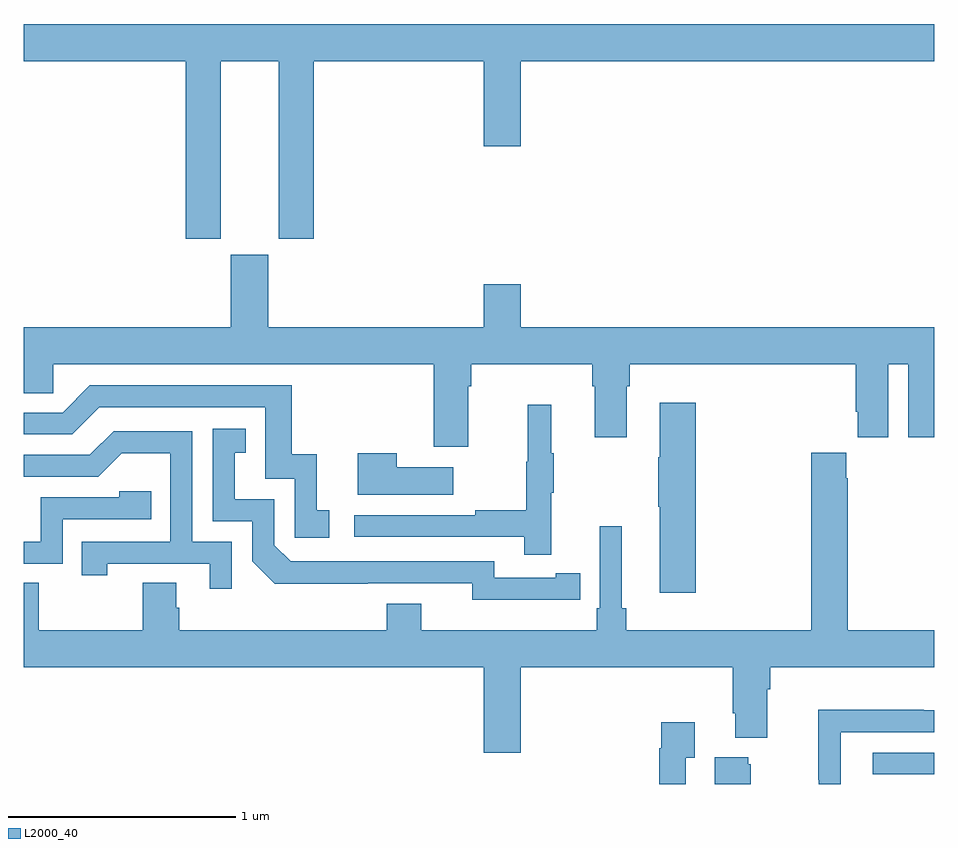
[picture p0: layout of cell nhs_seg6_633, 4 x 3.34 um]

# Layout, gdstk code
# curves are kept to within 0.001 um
import gdstk
lib = gdstk.Library(unit=1e-6, precision=1e-09)
def R(c, l, rs):  # rectangles x0, y0, x1, y1
    for r in rs: c.add(gdstk.rectangle(r[:2], r[2:], *l))
def P(c, l, *ps):  # polygons
    for p in ps: c.add(gdstk.Polygon(p, *l))
L2000_40 = (2000, 40)

nhs_seg6_633 = lib.new_cell('nhs_seg6_633')
R(nhs_seg6_633, L2000_40, [(154.731,937.542,155,937.638)])
P(nhs_seg6_633, L2000_40, [(151,940.676),(151.712,940.676),(151.712,939.897),(151.864,939.897),(151.864,940.676),(152.12,940.676),(152.12,939.897),(152.273,939.897),(152.273,940.676),(153.02,940.676),(153.02,940.302),(153.184,940.302),(153.184,940.676),(155,940.676),(155,940.84),(151,940.84)],
  [(151.91,939.825),(151.91,939.508),(151,939.508),(151,939.217),(151.128,939.217),(151.128,939.344),(152.801,939.344),(152.801,938.982),(152.953,938.982),(152.953,939.248),(152.966,939.248),(152.966,939.344),(153.497,939.344),(153.497,939.248),(153.509,939.248),(153.509,939.024),(153.649,939.024),(153.649,939.248),(153.662,939.248),(153.662,939.344),(154.655,939.344),(154.655,939.136),(154.664,939.136),(154.664,939.024),(154.798,939.024),(154.798,939.344),(154.886,939.344),(154.886,939.024),(155,939.024),(155,939.508),(153.184,939.508),(153.184,939.697),(153.02,939.697),(153.02,939.508),(152.074,939.508),(152.074,939.825)],
  [(152.341,938.703),(152.288,938.703),(152.288,938.95),(152.177,938.95),(152.177,939.252),(151.29,939.252),(151.17,939.132),(151,939.132),(151,939.036),(151.212,939.036),(151.332,939.156),(152.061,939.156),(152.061,938.841),(152.19,938.841),(152.19,938.583),(152.341,938.583)],
  [(153.953,939.175),(153.794,939.175),(153.794,938.936),(153.787,938.936),(153.787,938.719),(153.794,938.719),(153.794,938.34),(153.953,938.34)],
  [(153.317,938.779),(153.328,938.779),(153.328,938.953),(153.317,938.953),(153.317,939.166),(153.214,939.166),(153.214,938.916),(153.207,938.916),(153.207,938.702),(152.983,938.702),(152.983,938.682),(152.451,938.682),(152.451,938.586),(153.199,938.586),(153.199,938.508),(153.317,938.508)],
  [(153.338,938.31),(153.446,938.31),(153.446,938.426),(153.338,938.426),(153.338,938.406),(153.066,938.406),(153.066,938.478),(152.172,938.478),(152.1,938.55),(152.1,938.751),(151.927,938.751),(151.927,938.955),(151.976,938.955),(151.976,939.061),(151.83,939.061),(151.83,938.655),(152.004,938.655),(152.004,938.478),(152.102,938.381),(152.97,938.382),(152.97,938.309)],
  [(151.914,938.565),(151.74,938.565),(151.74,939.051),(151.394,939.051),(151.289,938.946),(151,938.946),(151,938.85),(151.326,938.85),(151.43,938.954),(151.644,938.954),(151.644,938.565),(151.255,938.565),(151.255,938.418),(151.366,938.418),(151.366,938.469),(151.817,938.469),(151.817,938.358),(151.914,938.358)],
  [(153.184,938.012),(154.115,938.012),(154.115,937.81),(154.127,937.81),(154.127,937.703),(154.267,937.703),(154.267,937.916),(154.28,937.916),(154.28,938.012),(155,938.012),(155,938.176),(154.62,938.176),(154.62,938.843),(154.613,938.843),(154.613,938.956),(154.46,938.956),(154.46,938.176),(153.647,938.176),(153.647,938.272),(153.628,938.272),(153.628,938.632),(153.531,938.632),(153.531,938.272),(153.518,938.272),(153.518,938.176),(152.746,938.176),(152.746,938.293),(152.594,938.293),(152.594,938.176),(151.682,938.176),(151.682,938.274),(151.669,938.274),(151.669,938.384),(151.522,938.384),(151.522,938.176),(151.065,938.176),(151.065,938.384),(151,938.384),(151,938.012),(153.02,938.012),(153.02,937.638),(153.184,937.638)],
  [(152.887,938.893),(152.639,938.893),(152.639,938.953),(152.468,938.953),(152.468,938.771),(152.887,938.771)],
  [(151.17,938.664),(151.559,938.664),(151.559,938.787),(151.419,938.787),(151.419,938.76),(151.074,938.76),(151.074,938.565),(151,938.565),(151,938.469),(151.17,938.469)],
  [(154.59,937.728),(155,937.728),(155,937.824),(154.955,937.824),(154.955,937.826),(154.492,937.826),(154.492,937.519),(154.494,937.519),(154.494,937.5),(154.59,937.5)],
  [(153.909,937.615),(153.949,937.615),(153.949,937.771),(153.801,937.771),(153.801,937.658),(153.793,937.658),(153.793,937.5),(153.909,937.5)],
  [(154.195,937.587),(154.184,937.587),(154.184,937.618),(154.037,937.618),(154.037,937.5),(154.195,937.5)])

lib.write_gds('nhs_seg6_633.gds')
